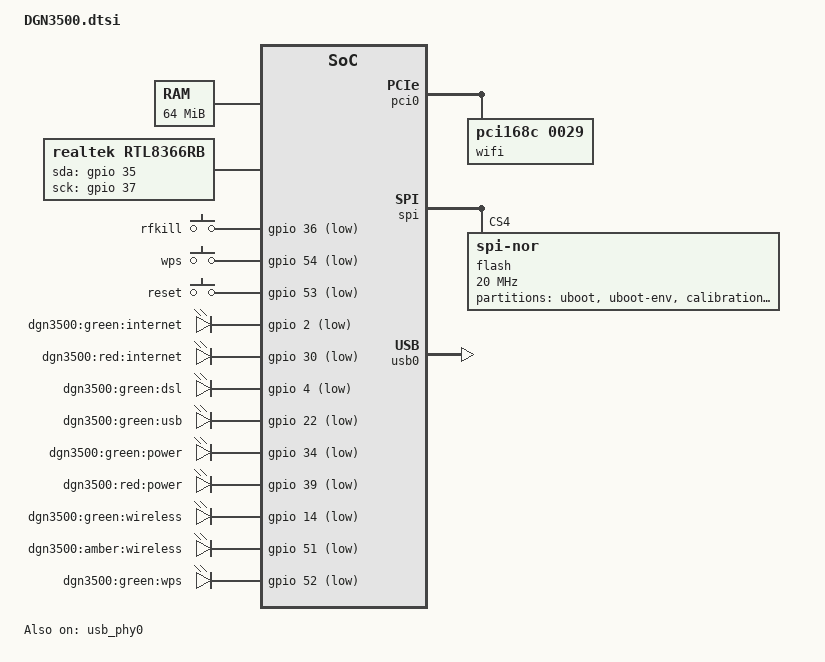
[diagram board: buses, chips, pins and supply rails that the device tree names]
#include "ar9.dtsi"

#include <dt-bindings/input/input.h>

/ {
	chosen {
		bootargs = "root= console=ttyLTQ0,115200";
	};

	aliases {
		led-boot = &power_green;
		led-failsafe = &power_red;
		led-running = &power_green;
		led-upgrade = &power_green;

		led-dsl = &dsl;
		led-internet = &internet;
		led-usb = &led_usb;
		led-wifi = &wifi_green;
	};

	memory@0 {
		device_type = "memory";
		reg = <0x0 0x4000000>;
	};

	rtl8366rb {
		compatible = "realtek,rtl8366rb";
		gpio-sda = <&gpio 35 GPIO_ACTIVE_HIGH>;
		gpio-sck = <&gpio 37 GPIO_ACTIVE_HIGH>;

		realtek,initvals = <
			0x0000 0x0830
			0x0400 0x8130
			0x000a 0x83ed
			0x0f51 0x0017
			0x02f5 0x0048
			0x02fa 0xffdf
			0x02fb 0xffe0
			0x0450 0x0000
			0x0401 0x0000
			0x0431 0x0960
		>;
	};

	keys {
		compatible = "gpio-keys-polled";
		poll-interval = <100>;

		rfkill {
			label = "rfkill";
			gpios = <&gpio 36 GPIO_ACTIVE_LOW>;
			linux,code = <KEY_RFKILL>;
		};
		wps {
			label = "wps";
			gpios = <&gpio 54 GPIO_ACTIVE_LOW>;
			linux,code = <KEY_WPS_BUTTON>;
		};
		reset {
			label = "reset";
			gpios = <&gpio 53 GPIO_ACTIVE_LOW>;
			linux,code = <KEY_RESTART>;
		};
	};

	leds {
		compatible = "gpio-leds";
		internet: internet {
			label = "dgn3500:green:internet";
			gpios = <&gpio 2 GPIO_ACTIVE_LOW>;
		};
		internet2 {
			label = "dgn3500:red:internet";
			gpios = <&gpio 30 GPIO_ACTIVE_LOW>;
		};
		dsl: dsl {
			label = "dgn3500:green:dsl";
			gpios = <&gpio 4 GPIO_ACTIVE_LOW>;
		};
		led_usb: usb {
			label = "dgn3500:green:usb";
			gpios = <&gpio 22 GPIO_ACTIVE_LOW>;
		};
		power_green: power {
			label = "dgn3500:green:power";
			gpios = <&gpio 34 GPIO_ACTIVE_LOW>;
			default-state = "keep";
		};
		power_red: power2 {
			label = "dgn3500:red:power";
			gpios = <&gpio 39 GPIO_ACTIVE_LOW>;
		};
		wifi_green: wifi {
			label = "dgn3500:green:wireless";
			gpios = <&gpio 14 GPIO_ACTIVE_LOW>;
		};
		wifi2 {
			label = "dgn3500:amber:wireless";
			gpios = <&gpio 51 GPIO_ACTIVE_LOW>;
		};
		wps {
			label = "dgn3500:green:wps";
			gpios = <&gpio 52 GPIO_ACTIVE_LOW>;
		};
	};
};

&gpio {
	pinctrl-names = "default";
	pinctrl-0 = <&state_default>;

	state_default: pinmux {
		exin {
			lantiq,groups = "exin1";
			lantiq,function = "exin";
		};
		pci {
			lantiq,groups = "gnt1", "req1";
			lantiq,function = "pci";
		};
		pci-in {
			lantiq,groups = "req1";
			lantiq,output = <0>;
			lantiq,open-drain = <1>;
			lantiq,pull = <2>;
		};
		pci-out {
			lantiq,groups = "gnt1";
			lantiq,output = <1>;
			lantiq,pull = <0>;
		};
	};
	pins_spi_default: pins_spi_default {
		spi_in {
			lantiq,groups = "spi_di";
			lantiq,function = "spi";
		};
		spi_out {
			lantiq,groups = "spi_do", "spi_clk",
				"spi_cs4";
			lantiq,function = "spi";
			lantiq,output = <1>;
		};
	};
};

&gsw {
	phy-mode = "mii";
};

&pci0 {
	status = "okay";
	gpio-reset = <&gpio 21 GPIO_ACTIVE_HIGH>;

	wifi@168c,0029 {
		compatible = "pci168c,0029";
		reg = <0x7000 0 0 0 0>;
		qca,no-eeprom; /* load from ath9k-eeprom-pci-0000:00:0e.0.bin */
	};
};

&spi {
	status = "okay";

	pinctrl-names = "default";
	pinctrl-0 = <&pins_spi_default>;

	flash@4 {
		compatible = "jedec,spi-nor";
		reg = <4>;
		spi-max-frequency = <20000000>;

		partitions {
			compatible = "fixed-partitions";
			#address-cells = <1>;
			#size-cells = <1>;

			partition@0 {
				reg = <0x0 0x10000>;
				label = "uboot";
				read-only;
			};

			partition@10000 {
				reg = <0x10000 0x10000>;
				label = "uboot-env";
				read-only;
			};

			ath9k_cal: partition@20000 {
				reg = <0x20000 0x10000>;
				label = "calibration";
				read-only;
			};

			partition@50000 {
				reg = <0x50000 0xfa0000>;
				label = "firmware";
			};
		};
	};
};

&usb_phy0 {
	status = "okay";
};

&usb0 {
	status = "okay";
};
